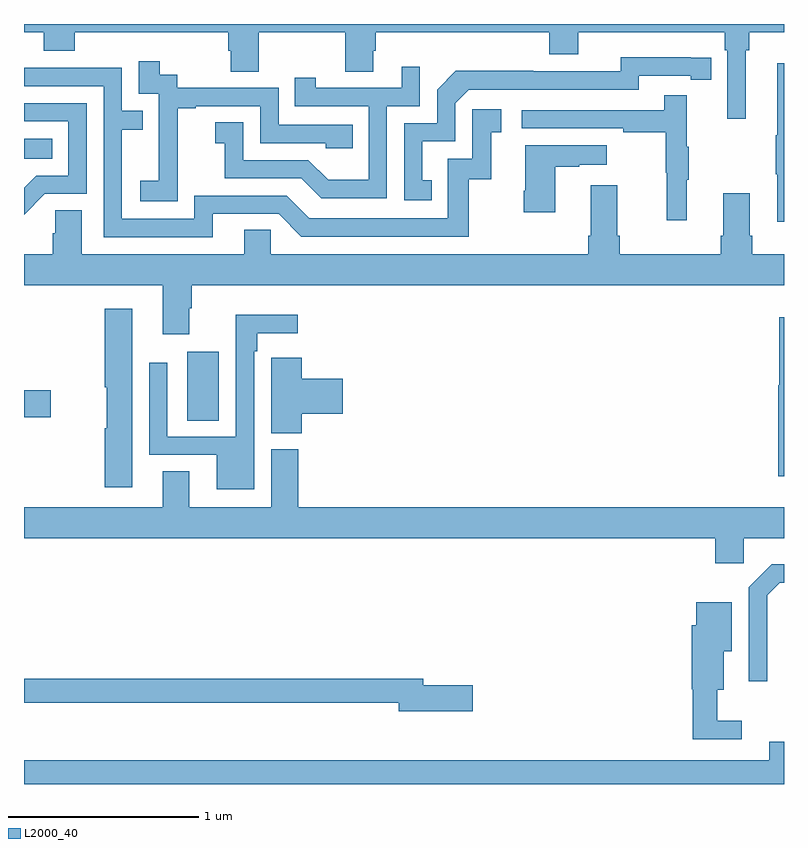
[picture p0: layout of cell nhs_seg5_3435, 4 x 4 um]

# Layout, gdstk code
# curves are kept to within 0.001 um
import gdstk
lib = gdstk.Library(unit=1e-6, precision=1e-09)
def R(c, l, rs):  # rectangles x0, y0, x1, y1
    for r in rs: c.add(gdstk.rectangle(r[:2], r[2:], *l))
def P(c, l, *ps):  # polygons
    for p in ps: c.add(gdstk.Polygon(p, *l))
L2000_40 = (2000, 40)

nhs_seg5_3435 = lib.new_cell('nhs_seg5_3435')
R(nhs_seg5_3435, L2000_40, [(313.859,858.712,314.026,859.075), (313,858.73,313.141,858.872), (313,860.09,313.148,860.194)])
P(nhs_seg5_3435, L2000_40, [(313,860.756),(313.103,860.756),(313.103,860.657),(313.268,860.657),(313.268,860.756),(314.075,860.756),(314.075,860.658),(314.087,860.658),(314.087,860.548),(314.235,860.548),(314.235,860.756),(314.692,860.756),(314.692,860.548),(314.839,860.548),(314.839,860.658),(314.852,860.658),(314.852,860.756),(315.764,860.756),(315.764,860.639),(315.916,860.639),(315.916,860.756),(316.688,860.756),(316.688,860.66),(316.701,860.66),(316.701,860.301),(316.798,860.301),(316.798,860.66),(316.817,860.66),(316.817,860.756),(317,860.756),(317,860.799),(313,860.799)],
  [(315.146,859.977),(315.097,859.977),(315.097,860.181),(315.27,860.181),(315.27,860.382),(315.342,860.454),(316.236,860.454),(316.236,860.526),(316.508,860.526),(316.508,860.506),(316.616,860.506),(316.616,860.622),(316.14,860.623),(316.14,860.55),(315.68,860.55),(315.68,860.552),(315.272,860.552),(315.174,860.454),(315.174,860.277),(315,860.277),(315,859.872),(315.146,859.872)],
  [(313.809,860.071),(313.808,860.071),(313.808,860.355),(313.903,860.355),(313.903,860.367),(314.244,860.367),(314.244,860.172),(314.589,860.172),(314.589,860.145),(314.729,860.145),(314.729,860.268),(314.34,860.268),(314.34,860.463),(313.806,860.463),(313.806,860.532),(313.714,860.532),(313.714,860.602),(313.605,860.602),(313.605,860.433),(313.71,860.433),(313.71,860.204),(313.709,860.204),(313.709,859.975),(313.611,859.975),(313.611,859.865),(313.809,859.865)],
  [(317,860.593),(316.964,860.593),(316.964,860.213),(316.957,860.213),(316.957,860.007),(316.964,860.007),(316.964,859.758),(317,859.758)],
  [(314.91,860.367),(315.084,860.367),(315.084,860.575),(314.987,860.575),(314.987,860.463),(314.536,860.463),(314.536,860.515),(314.425,860.515),(314.425,860.367),(314.814,860.367),(314.814,859.978),(314.6,859.978),(314.496,860.082),(314.154,860.082),(314.154,860.281),(314.007,860.281),(314.007,860.171),(314.056,860.171),(314.056,859.986),(314.459,859.986),(314.564,859.881),(314.91,859.881)],
  [(313.993,859.8),(314.34,859.8),(314.46,859.68),(315.34,859.68),(315.34,859.983),(315.458,859.983),(315.458,860.229),(315.511,860.229),(315.511,860.35),(315.36,860.35),(315.36,860.091),(315.231,860.091),(315.231,859.776),(314.502,859.776),(314.382,859.896),(313.896,859.896),(313.896,859.773),(313.515,859.773),(313.515,860.242),(313.625,860.242),(313.625,860.343),(313.515,860.343),(313.515,860.568),(313.019,860.568),(313.019,860.57),(313,860.57),(313,860.472),(313.419,860.472),(313.419,859.677),(313.993,859.677)],
  [(316.487,859.979),(316.498,859.979),(316.498,860.153),(316.487,860.153),(316.487,860.425),(316.369,860.425),(316.369,860.346),(315.621,860.346),(315.621,860.25),(316.153,860.25),(316.153,860.23),(316.377,860.23),(316.377,860.016),(316.384,860.016),(316.384,859.767),(316.487,859.767)],
  [(313.11,859.905),(313.329,859.905),(313.329,860.382),(313,860.382),(313,860.286),(313.233,860.286),(313.233,860.001),(313.064,860.001),(313,859.937),(313,859.796)],
  [(315.796,860.047),(315.923,860.047),(315.923,860.057),(316.066,860.057),(316.066,860.161),(315.638,860.161),(315.638,859.921),(315.631,859.921),(315.631,859.809),(315.796,859.809)],
  [(315.983,859.951),(315.983,859.684),(315.971,859.684),(315.971,859.588),(314.298,859.588),(314.298,859.715),(314.159,859.715),(314.159,859.588),(313.303,859.588),(313.303,859.82),(313.164,859.82),(313.164,859.697),(313.151,859.697),(313.151,859.588),(313,859.588),(313,859.424),(313.73,859.424),(313.73,859.167),(313.87,859.167),(313.87,859.304),(313.883,859.304),(313.883,859.424),(317,859.424),(317,859.588),(316.832,859.588),(316.832,859.684),(316.819,859.684),(316.819,859.909),(316.679,859.909),(316.679,859.684),(316.667,859.684),(316.667,859.588),(316.136,859.588),(316.136,859.684),(316.123,859.684),(316.123,859.951)],
  [(313.57,859.3),(313.424,859.3),(313.424,858.887),(313.436,858.887),(313.436,858.672),(313.424,858.672),(313.424,858.36),(313.57,858.36)],
  [(314.211,859.076),(314.227,859.076),(314.227,859.172),(314.44,859.172),(314.44,859.27),(314.115,859.27),(314.115,858.627),(313.755,858.627),(313.755,859.015),(313.659,859.015),(313.659,858.531),(314.015,858.531),(314.015,858.35),(314.211,858.35)],
  [(317,859.255),(316.976,859.255),(316.976,858.897),(316.97,858.897),(316.97,858.42),(317,858.42)],
  [(314.462,858.749),(314.677,858.749),(314.677,858.932),(314.462,858.932),(314.462,859.042),(314.301,859.042),(314.301,858.929),(314.3,858.929),(314.3,858.646),(314.462,858.646)],
  [(316.788,858.092),(317,858.092),(317,858.256),(314.444,858.256),(314.444,858.561),(314.3,858.561),(314.3,858.256),(313.87,858.256),(313.87,858.446),(313.73,858.446),(313.73,858.256),(313,858.256),(313,858.092),(316.637,858.092),(316.637,857.961),(316.788,857.961)],
  [(316.911,857.793),(316.977,857.859),(317,857.859),(317,857.956),(316.936,857.956),(316.815,857.835),(316.815,857.34),(316.911,857.34)],
  [(316.777,857.131),(316.648,857.131),(316.648,857.294),(316.684,857.294),(316.684,857.498),(316.726,857.498),(316.726,857.755),(316.538,857.755),(316.538,857.634),(316.514,857.634),(316.514,857.298),(316.519,857.298),(316.519,857.034),(316.777,857.034)],
  [(315.361,857.318),(315.1,857.318),(315.1,857.354),(313,857.354),(313,857.226),(314.972,857.226),(314.972,857.183),(315.361,857.183)],
  [(317,857.022),(316.922,857.022),(316.922,856.924),(313,856.924),(313,856.799),(317,856.799)])

lib.write_gds('nhs_seg5_3435.gds')
